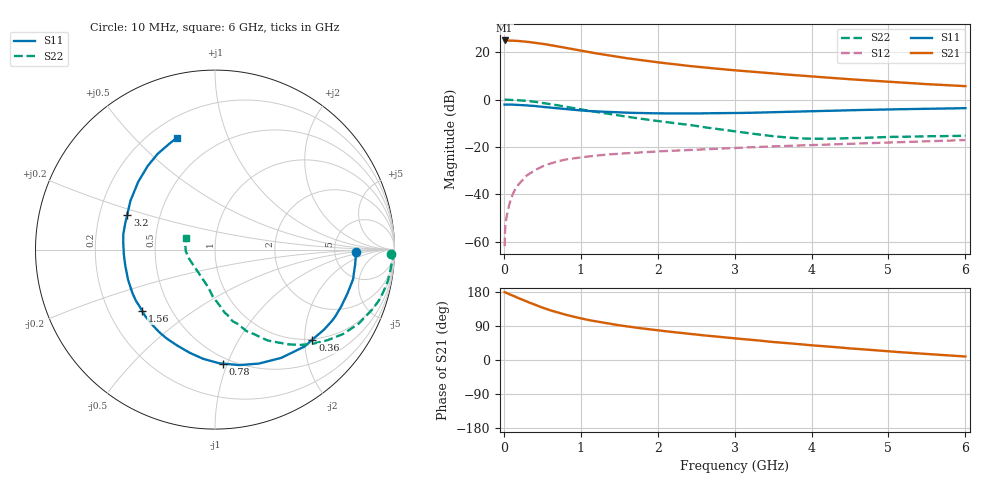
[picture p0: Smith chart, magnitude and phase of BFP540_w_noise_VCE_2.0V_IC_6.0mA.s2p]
! (c) 2015  Infineon Technologies AG, Munich
! Infineon Technologies  Discrete & RF Semiconductors
! BFP540
! VCE =  2.0 V,  IC =  6.0 mA
! Common Emitter S-Parameters:  Nov 2015
# GHz  S  MA  R  50
!  f  S11  S21  S12  S22
! GHz  MAG  ANG  MAG  ANG  MAG  ANG  MAG  ANG
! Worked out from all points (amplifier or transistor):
!   210 points, 10 MHz to 6 GHz, reference 50 ohm
!   highest |S21| = 25.0 dB at 10 MHz (marker M1)
!   |S21| within 3 dB of that: start of sweep to 783.4 MHz
!   unconditionally stable (mu >= 1): 3.141 GHz to end of sweep
!   at 185 MHz: K = 0.06, MSG = 30.5 dB, |S12| = -36.1 dB
!   at 1.52 GHz: K = 0.56, MSG = 20.3 dB, |S12| = -22.8 dB
!   at 6 GHz: K = 1.21, MAG = 8.6 dB, |S12| = -17.1 dB
!   lowest NFmin = 0.73 dB at 900 MHz
!   S11 on the Smith chart (normalised r, x): 10 MHz: 8.18, -0.58; 360 MHz: 0.98, -2.18; 780 MHz: 0.45, -0.97; 1.56 GHz: 0.34, -0.33; 3.2 GHz: 0.32, +0.17; 6 GHz: 0.31, +0.67
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0.01  0.783 -1.0  17.77 178.9  0.0008 91.8  0.9801 -1.4
0.02  0.7851 -2.8  17.67 178.4  0.0023 98.6  0.9953 -1.4
0.035  0.7849 -4.5  17.67 176.9  0.0033 88.8  0.9922 -2.4
0.15  0.7775 -18.3  17.5 166.9  0.013 81.6  0.9781 -10.6
0.28  0.7579 -33.7  16.8 155.7  0.0232 74.2  0.9444 -19.5
0.36  0.739 -42.8  16.21 149.3  0.029 70.6  0.9137 -24.6
0.4  0.7349 -47.3  15.95 146.0  0.0317 69.3  0.9003 -27.3
0.5  0.7073 -58.5  15.16 138.4  0.0387 64.7  0.8543 -33.4
0.6  0.6806 -68.9  14.19 131.4  0.0443 60.7  0.8062 -38.7
0.78  0.637 -85.9  12.61 120.8  0.0531 53.8  0.7193 -47.5
0.9  0.6121 -96.2  11.6 114.4  0.057 50.0  0.6654 -52.4
1.02  0.5876 -105.3  10.69 109.1  0.0609 46.6  0.615 -56.8
1.2  0.5638 -118.5  9.482 101.7  0.0658 43.2  0.549 -62.7
1.4  0.5443 -130.8  8.412 94.9  0.0699 40.2  0.4866 -68.9
1.56  0.5308 -139.6  7.659 90.0  0.073 38.4  0.444 -72.0
2.02  0.5118 -161.6  6.088 77.7  0.0807 34.3  0.3508 -81.7
2.6  0.5123 176.4  4.779 65.0  0.0891 30.7  0.2611 -92.9
3.1  0.523 161.0  4.038 55.3  0.0965 28.6  0.2029 -103.1
3.2  0.5264 158.2  3.914 53.6  0.0981 28.1  0.1934 -106.1
4.1  0.575 136.5  3.004 37.3  0.1106 23.3  0.1485 -145.5
5.1  0.6248 119.5  2.332 21.4  0.1252 18.2  0.1632 -179.5
6  0.6588 108.6  1.926 9.2  0.1396 14.1  0.1725 157.7
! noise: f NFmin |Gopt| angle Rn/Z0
0.9  0.73  0.05  38  0.12
1.8  0.95  0.08  153  0.11
2.4  0.97  0.09  154  0.1
3  1.1  0.19  178  0.09
4  1.28  0.3  -122  0.14
5  1.5  0.42  -99  0.29
6  1.73  0.51  -100  0.43
